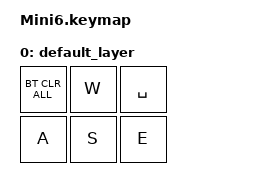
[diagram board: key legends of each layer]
#include <behaviors.dtsi>
#include <dt-bindings/zmk/keys.h>
#include <dt-bindings/zmk/bt.h>

/ {
    keymap {
        compatible = "zmk,keymap";

        default_layer {
            bindings = <
                &bt BT_CLR_ALL    &kp W    &kp SPACE
                &kp A    &kp S    &kp E
            >;
        };
    };
};
